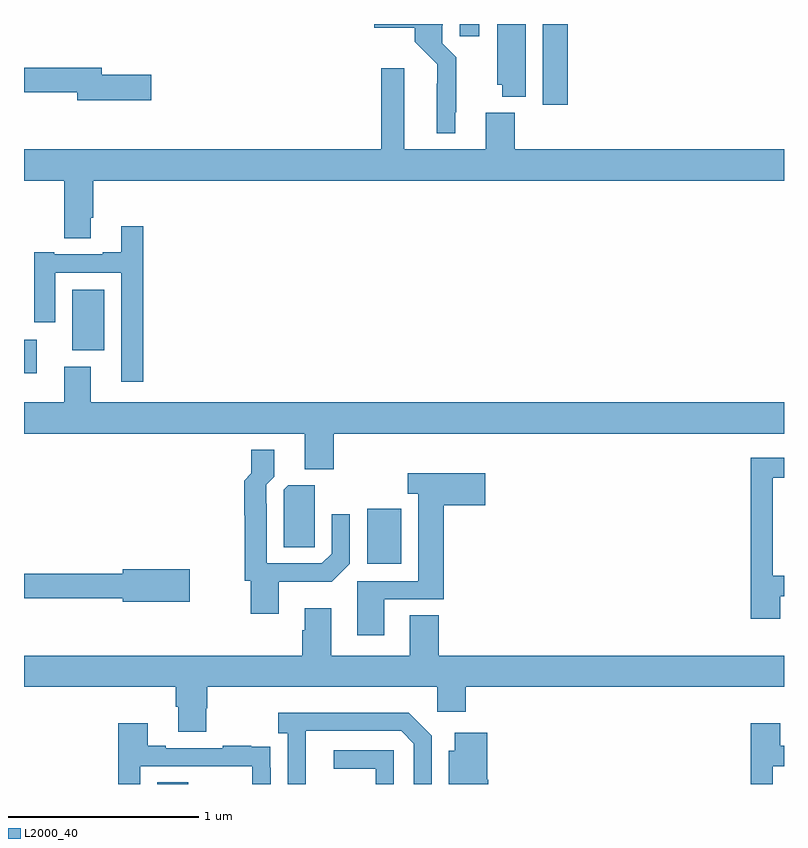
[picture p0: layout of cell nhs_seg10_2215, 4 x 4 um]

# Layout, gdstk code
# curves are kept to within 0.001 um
import gdstk
lib = gdstk.Library(unit=1e-6, precision=1e-09)
def R(c, l, rs):  # rectangles x0, y0, x1, y1
    for r in rs: c.add(gdstk.rectangle(r[:2], r[2:], *l))
def P(c, l, *ps):  # polygons
    for p in ps: c.add(gdstk.Polygon(p, *l))
L2000_40 = (2000, 40)

nhs_seg10_2215 = lib.new_cell('nhs_seg10_2215')
R(nhs_seg10_2215, L2000_40, [(229.7,1270.5,229.864,1270.508), (230.807,1271.66,230.986,1271.95), (229,1272.662,229.066,1272.838), (229.253,1272.782,229.423,1273.102), (231.731,1274.076,231.863,1274.5), (231.293,1274.436,231.397,1274.5)])
P(nhs_seg10_2215, L2000_40, [(231.271,1274.035),(231.275,1274.035),(231.275,1274.326),(231.201,1274.4),(231.201,1274.494),(231.205,1274.494),(231.205,1274.5),(230.844,1274.5),(230.844,1274.48),(231.056,1274.48),(231.056,1274.406),(231.174,1274.288),(231.173,1273.925),(231.271,1273.925)],
  [(231.64,1274.5),(231.491,1274.5),(231.491,1274.181),(231.518,1274.181),(231.518,1274.117),(231.64,1274.117)],
  [(229.669,1274.234),(229.408,1274.234),(229.408,1274.27),(229,1274.27),(229,1274.142),(229.28,1274.142),(229.28,1274.099),(229.669,1274.099)],
  [(229.351,1273.48),(229.364,1273.48),(229.364,1273.676),(233,1273.676),(233,1273.84),(231.584,1273.84),(231.584,1274.032),(231.431,1274.032),(231.431,1273.84),(231.001,1273.84),(231.001,1274.266),(230.879,1274.266),(230.879,1273.84),(229,1273.84),(229,1273.676),(229.211,1273.676),(229.211,1273.372),(229.351,1273.372)],
  [(229.628,1273.435),(229.511,1273.435),(229.511,1273.3),(229.415,1273.3),(229.415,1273.287),(229.159,1273.287),(229.159,1273.3),(229.055,1273.3),(229.055,1272.93),(229.165,1272.93),(229.165,1273.191),(229.512,1273.191),(229.512,1272.618),(229.628,1272.618)],
  [(230.63,1272.344),(233,1272.344),(233,1272.508),(229.351,1272.508),(229.351,1272.697),(229.211,1272.697),(229.211,1272.508),(229,1272.508),(229,1272.344),(230.477,1272.344),(230.477,1272.157),(230.63,1272.157)],
  [(230.341,1271.564),(230.621,1271.564),(230.715,1271.658),(230.715,1271.92),(230.619,1271.92),(230.619,1271.712),(230.568,1271.661),(230.277,1271.661),(230.277,1271.975),(230.274,1271.975),(230.274,1272.075),(230.317,1272.118),(230.317,1272.259),(230.197,1272.259),(230.197,1272.135),(230.159,1272.096),(230.159,1271.914),(230.161,1271.914),(230.161,1271.571),(230.194,1271.571),(230.194,1271.397),(230.341,1271.397)],
  [(232.981,1271.487),(233,1271.487),(233,1271.595),(232.941,1271.595),(232.941,1272.111),(233,1272.111),(233,1272.217),(232.825,1272.217),(232.825,1271.37),(232.981,1271.37)],
  [(230.896,1271.472),(231.209,1271.472),(231.209,1271.966),(231.427,1271.966),(231.427,1272.135),(231.021,1272.135),(231.021,1272.027),(231.074,1272.027),(231.074,1271.568),(230.753,1271.568),(230.753,1271.283),(230.896,1271.283)],
  [(230.529,1271.857),(230.53,1271.857),(230.53,1272.072),(230.391,1272.072),(230.367,1272.048),(230.367,1271.746),(230.529,1271.746)],
  [(229.873,1271.63),(229.52,1271.63),(229.52,1271.606),(229,1271.606),(229,1271.478),(229.52,1271.478),(229.52,1271.459),(229.873,1271.459)],
  [(229.959,1270.899),(229.964,1270.899),(229.964,1271.012),(231.174,1271.012),(231.174,1270.881),(231.326,1270.881),(231.326,1271.012),(233,1271.012),(233,1271.176),(231.182,1271.176),(231.182,1271.387),(231.029,1271.387),(231.029,1271.176),(230.617,1271.176),(230.617,1271.425),(230.477,1271.425),(230.477,1271.309),(230.465,1271.309),(230.465,1271.176),(229,1271.176),(229,1271.012),(229.799,1271.012),(229.799,1270.906),(229.811,1270.906),(229.811,1270.774),(229.959,1270.774)],
  [(230.484,1270.779),(230.985,1270.779),(231.051,1270.713),(231.051,1270.5),(231.147,1270.5),(231.147,1270.755),(231.026,1270.876),(230.337,1270.876),(230.337,1270.766),(230.388,1270.766),(230.388,1270.5),(230.484,1270.5)],
  [(232.941,1270.593),(233,1270.593),(233,1270.702),(232.981,1270.702),(232.981,1270.819),(232.825,1270.819),(232.825,1270.5),(232.941,1270.5)],
  [(229.611,1270.593),(230.202,1270.593),(230.202,1270.5),(230.298,1270.5),(230.298,1270.586),(230.297,1270.586),(230.297,1270.695),(230.195,1270.695),(230.195,1270.702),(230.047,1270.702),(230.047,1270.689),(229.747,1270.689),(229.747,1270.702),(229.651,1270.702),(229.651,1270.819),(229.495,1270.819),(229.495,1270.5),(229.611,1270.5)],
  [(231.443,1270.522),(231.437,1270.522),(231.437,1270.771),(231.266,1270.771),(231.266,1270.675),(231.236,1270.675),(231.236,1270.5),(231.443,1270.5)],
  [(230.946,1270.677),(230.631,1270.677),(230.631,1270.581),(230.85,1270.581),(230.85,1270.5),(230.946,1270.5)])

lib.write_gds('nhs_seg10_2215.gds')
